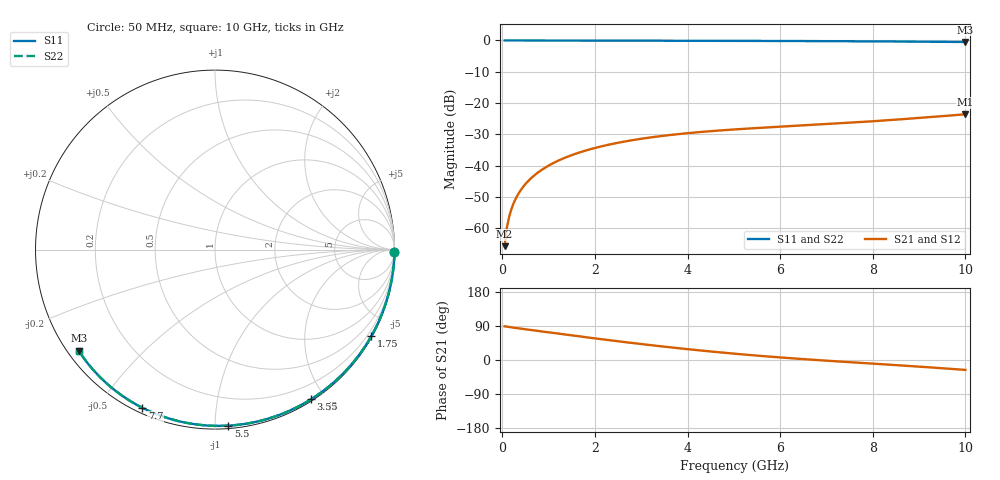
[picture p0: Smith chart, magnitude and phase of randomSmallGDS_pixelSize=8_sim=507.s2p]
! freq	dB(S11)	phase(S11)	dB(S12)	phase(S12)
!  dB(S21)	phase(S21)	dB(S22)	phase(S22)
!S-par simulation data
#  GHz  S  DB  R 50
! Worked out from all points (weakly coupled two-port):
!   200 points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, 50 MHz to 10 GHz, reference 50 ohm
!   highest |S21| = -23.58 dB at 10 GHz (marker M1); lowest = -65.7 dB at 50 MHz (marker M2)
!   lowest |S11| = -0.5 dB at 10 GHz (marker M3), VSWR 35.70, Z = 1.55 - j16.5 ohm
!   |S11| at or under -10 dB: nowhere
!   |S22| runs from -0.5 to 0.0 dB; largest |S21 - S12| = 0
!   S11 on the Smith chart (normalised r, x): 50 MHz: open; 1.75 GHz: 0.03, -3.86; 3.55 GHz: 0.02, -1.83; 5.5 GHz: 0.02, -1.08; 7.7 GHz: 0.02, -0.64; 10 GHz: 0.03, -0.33
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0.05  -0.00 -0.8  -65.70 89.0  -65.70 89.0  -0.00 -0.8
0.1  -0.00 -1.7  -59.69 88.0  -59.69 88.0  -0.00 -1.7
0.15  -0.00 -2.5  -56.19 87.0  -56.19 87.0  -0.00 -2.5
0.2  -0.00 -3.4  -53.71 86.1  -53.71 86.1  -0.00 -3.4
0.25  -0.00 -4.2  -51.79 85.2  -51.79 85.2  -0.00 -4.2
0.35  -0.00 -5.9  -48.91 83.5  -48.91 83.5  -0.00 -5.9
0.5  -0.01 -8.4  -45.86 81.1  -45.86 81.1  -0.01 -8.4
0.7  -0.01 -11.8  -42.98 77.9  -42.98 77.9  -0.01 -11.8
1  -0.02 -16.7  -39.97 73.0  -39.97 73.0  -0.02 -16.8
1.35  -0.03 -22.5  -37.47 67.3  -37.47 67.3  -0.03 -22.5
1.75  -0.04 -29.0  -35.38 61.0  -35.38 61.0  -0.04 -29.1
2.5  -0.05 -41.1  -32.67 49.4  -32.67 49.4  -0.05 -41.1
3.4  -0.08 -55.1  -30.58 36.5  -30.58 36.5  -0.08 -55.1
3.55  -0.08 -57.4  -30.32 34.5  -30.32 34.5  -0.08 -57.4
4.3  -0.10 -68.5  -29.21 24.9  -29.21 24.9  -0.10 -68.6
5.05  -0.13 -79.3  -28.38 16.3  -28.38 16.3  -0.13 -79.3
5.5  -0.14 -85.6  -27.97 11.6  -27.97 11.6  -0.14 -85.6
6.7  -0.20 -101.8  -26.97 0.6  -26.97 0.6  -0.20 -101.8
7.7  -0.27 -114.7  -26.09 -7.3  -26.09 -7.3  -0.27 -114.7
8.35  -0.32 -122.9  -25.45 -12.3  -25.45 -12.3  -0.32 -122.9
9.2  -0.40 -133.5  -24.52 -19.2  -24.52 -19.2  -0.40 -133.5
10  -0.49 -143.4  -23.58 -26.1  -23.58 -26.1  -0.49 -143.4
